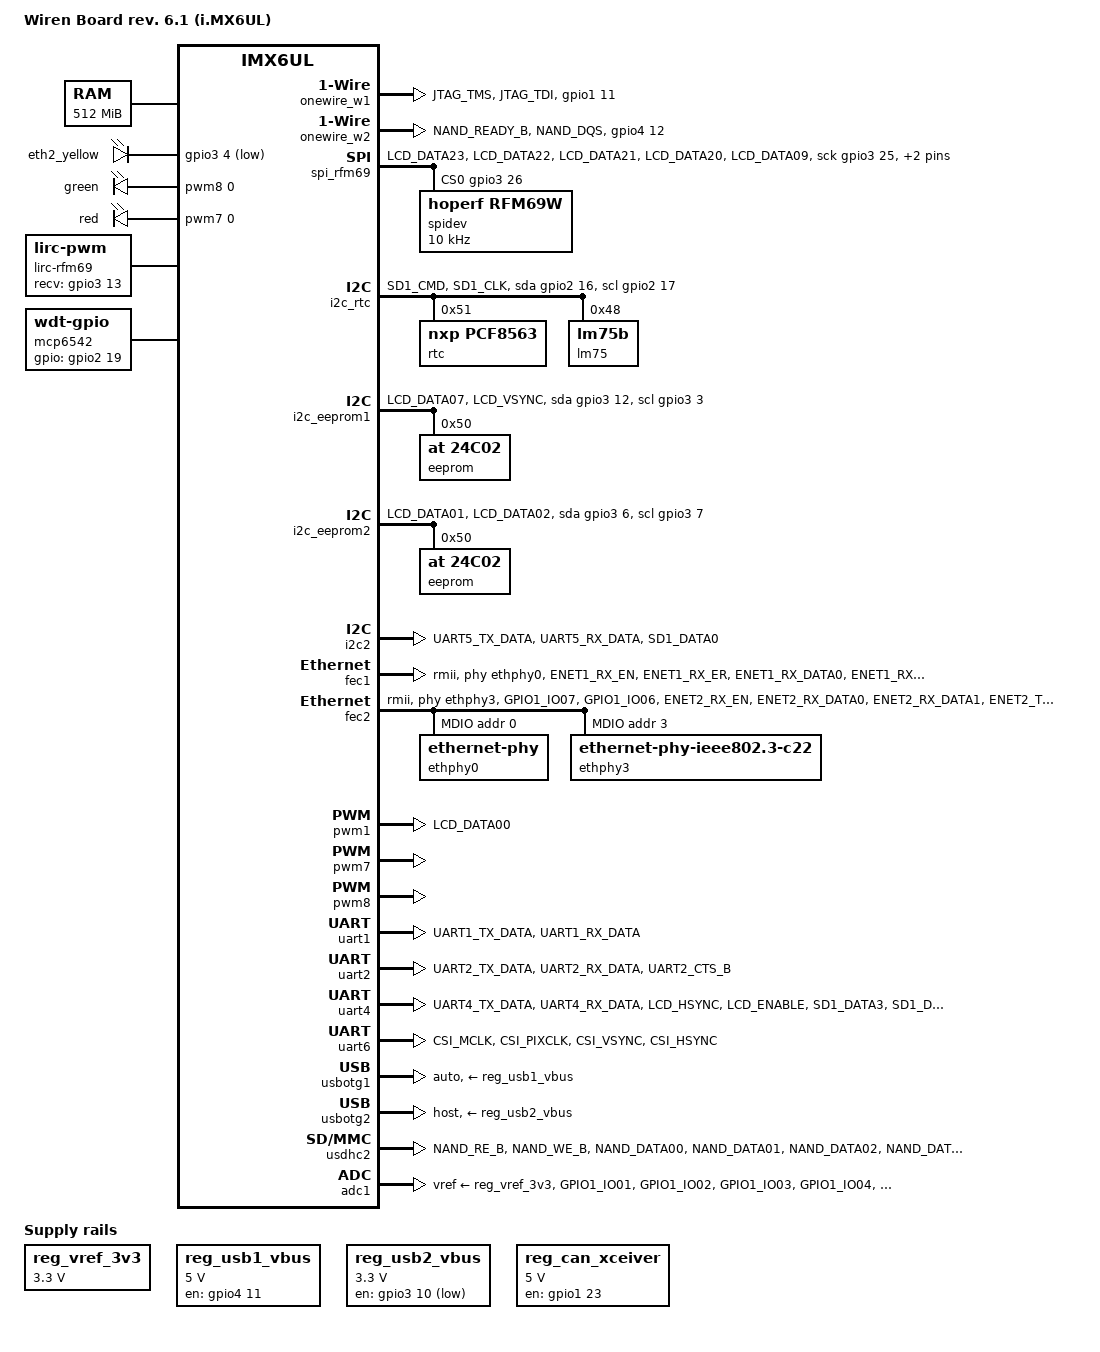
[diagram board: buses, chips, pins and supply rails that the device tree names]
/*
 * Copyright (C) 2016-2017 Contactless Devices, LLC
 * Copyright (C) 2015 Freescale Semiconductor, Inc.
 *
 * This program is free software; you can redistribute it and/or modify
 * it under the terms of the GNU General Public License version 2 as
 * published by the Free Software Foundation.
 */

/dts-v1/;

#include "imx6ul.dtsi"

/ {
	model = "Wiren Board rev. 6.1 (i.MX6UL)";
	compatible = "contactless,imx6ul-wirenboard61", "contactless,imx6ul-wirenboard61", "contactless,imx6ul-wirenboard-evk", "fsl,imx6ul-14x14-evk", "fsl,imx6ul";


	aliases {
		spi10 = &spi_rfm69;
	};

	chosen {
		stdout-path = &uart1;
	};

	memory {
		reg = <0x80000000 0x20000000>;
	};

	regulators {
		compatible = "simple-bus";
		#address-cells = <1>;
		#size-cells = <0>;

		reg_vref_3v3: regulator@0 {
			reg = <0>;
			compatible = "regulator-fixed";
			regulator-name = "vref-3v3";
			regulator-min-microvolt = <3300000>;
			regulator-max-microvolt = <3300000>;
		};

		reg_usb1_vbus: regulator@1 {
			reg = <1>;
			compatible = "regulator-fixed";
			regulator-name = "usb1_vbus";
			regulator-min-microvolt = <5000000>;
			regulator-max-microvolt = <5000000>;

			pinctrl-names = "default";
			pinctrl-0 = <&pinctrl_usb1vbus_gpio>;

			gpio = <&gpio4 11 0>;
			enable-active-high;
		};

		reg_usb2_vbus: regulator@2 {
			reg = <2>;
			compatible = "regulator-fixed";
			regulator-name = "usb2_vbus";
			regulator-min-microvolt = <3300000>;
			regulator-max-microvolt = <3300000>;

			pinctrl-names = "default";
			pinctrl-0 = <&pinctrl_usb2vbus_gpio>;

			gpio = <&gpio3 10 0>;
			/* active low */
		};

		reg_can_xceiver: regulator@3 {
			reg = <3>;
			compatible = "regulator-fixed";
			regulator-name = "can_xceiver";
			regulator-min-microvolt = <5000000>;
			regulator-max-microvolt = <5000000>;

			pinctrl-names = "default";
			pinctrl-0 = <&pinctrl_can_xceiver>;

			gpio = <&gpio1 23 0>;
			enable-active-high;
		};
	};

	leds {
		compatible = "gpio-leds";
		pinctrl-names = "default";
		pinctrl-0 = <&pinctrl_eth_led_pin_gpio>;

		eth2_yellow {
			label = "eth2_yellow";
			gpios = <&gpio3 4 1>;
			linux,default-trigger = "default-off";
		};
	};

	leds-pwm {
		compatible = "pwm-leds";
		pinctrl-names = "default";
		pinctrl-0 = <&pinctrl_leds_pin_pwm>;

		green {
			label = "green";
			pwms = <&pwm8 0 1000000>;
			max-brightness = <255>;
			linux,default-trigger = "default-off";
			default-state = "on";
			active-low;
		};

		red {
			label = "red";
			pwms = <&pwm7 0 1000000>;
			max-brightness = <255>;
			linux,default-trigger = "timer";
		};
	};

	/* Enable 1-wire network on terminal block W1 */
	onewire_w1 {
		compatible = "w1-gpio";
		pinctrl-names = "default";
		pinctrl-0 = <&pinctrl_w1_gpio>;

		gpios = <&gpio1 11 0>;
		pu-gpios = <&gpio1 13 0>;
	};

	/* Enable 1-wire network on terminal block W2 */
	onewire_w2 {
		compatible = "w1-gpio";
		pinctrl-names = "default";
		pinctrl-0 = <&pinctrl_w2_gpio>;

		gpios = <&gpio4 12 0>;
		pu-gpios = <&gpio4 16 0>;
	};

	lirc-rfm69 {
		compatible = "lirc-pwm";

		pinctrl-names = "default";
		pinctrl-0 = <&pinctrl_rfm69_dio2>;

		gpio-recv = <&gpio3 13 0>;
		gpio-recv-disable-filter;
	};

	spi_rfm69: spi-rfm69 {
		compatible = "spi-gpio";

		pinctrl-names = "default";
		pinctrl-0 = <&pinctrl_rfm69_spi_irq>;
		status = "okay";

		gpio-sck = <&gpio3 25 0>;
		gpio-mosi = <&gpio3 27 0>;
		gpio-miso = <&gpio3 28 0>;
		cs-gpios = <&gpio3 26 0>;
		num-chipselects = <1>;
		#address-cells = <1>;
		#size-cells = <0>;

		spidev@0 {
			compatible = "hoperf,rfm69w";
			spi-max-frequency = <10000>;
			reg = <0>;
		};
	};

	mcp6542: watchdog {
		/* external watchdog timer using mcp6542  */
		compatible = "linux,wdt-gpio";

		pinctrl-names = "default";
		pinctrl-0 = <&pinctrl_wdg_gpio>;

		gpios = <&gpio2 19 0>;
		hw_algo = "toggle";
		hw_margin_ms = <100>;
		always-running;
		timeout-sec = <30>;
		status = "okay";
	};

	i2c_rtc {
		compatible = "i2c-gpio";

		#address-cells = <1>;
		#size-cells = <0>;

		gpios = <
			&gpio2 16 0 /* sda */
			&gpio2 17 0 /* scl */
		>;

		i2c-gpio,delay-us = <50>;        /* ~20 kHz */

		pinctrl-names = "default";
		pinctrl-0 = <&pinctrl_i2c_gpio_rtc>;

		status = "okay";

		rtc@51 {
			compatible = "nxp,pcf8563";
			reg = <0x51>;
		};

		lm75@48 {
			/* NXP LM75AD has 11 bits of resolution, just like
			   standard LM75B. */
			compatible = "lm75b";
			reg = <0x48>;
		};
	};

	i2c_eeprom1 {
		compatible = "i2c-gpio";

		#address-cells = <1>;
		#size-cells = <0>;

		gpios = <
			&gpio3 12 0 /* sda */
			&gpio3 3 0 /* scl */
		>;

		i2c-gpio,delay-us = <50>;        /* ~20 kHz */

		pinctrl-names = "default";
		pinctrl-0 = <&pinctrl_i2c_gpio_eeprom1>;

		status = "okay";

		eeprom@50 {
			compatible = "at,24c02";
			reg = <0x50>;
		};
	};

	i2c_eeprom2 {
		compatible = "i2c-gpio";

		#address-cells = <1>;
		#size-cells = <0>;

		gpios = <
			&gpio3 6 0 /* sda */
			&gpio3 7 0 /* scl */
		>;

		i2c-gpio,delay-us = <50>;        /* ~20 kHz */

		pinctrl-names = "default";
		pinctrl-0 = <&pinctrl_i2c_gpio_eeprom2>;

		status = "okay";

		eeprom@50 {
			compatible = "at,24c02";
			reg = <0x50>;
		};
	};

};

&clks {
	assigned-clocks = <&clks IMX6UL_CLK_PLL4_AUDIO_DIV>;
	assigned-clock-rates = <786432000>;
};

&cpu0 {
	arm-supply = <&reg_arm>;
	soc-supply = <&reg_soc>;
};

&i2c2 {
	clock_frequency = <100000>;
	pinctrl-names = "default";
	pinctrl-0 = <&pinctrl_i2c2>;
	status = "okay";
};

&fec1 {
	pinctrl-names = "default";
	pinctrl-0 = <&pinctrl_enet1>;
	phy-mode = "rmii";
	phy-handle = <&ethphy0>;
	status = "okay";
};

&fec2 {
	pinctrl-names = "default";
	pinctrl-0 = <&pinctrl_enet2>;
	phy-mode = "rmii";
	phy-handle = <&ethphy3>;
	status = "okay";

	mdio {
		#address-cells = <1>;
		#size-cells = <0>;

		ethphy0: ethernet-phy@0 {
			reg = <0>;
			smsc,disable-energy-detect;
		};

		ethphy3: ethernet-phy@3 {
                    compatible = "ethernet-phy-ieee802.3-c22";
                    max-speed = <100>;
                    reg = <3>;
                    clocks = <&clks IMX6UL_CLK_ENET_REF>;
                    clock-names = "rmii-ref";
		};
	};
};

&pwm1 {
	pinctrl-names = "default";
	pinctrl-0 = <&pinctrl_pwm1>;
	status = "okay";
};

&pwm7 {
	status = "okay";
};
&pwm8 {
	status = "okay";
};

&snvs_poweroff {
	status = "okay";
};

&uart1 {
	pinctrl-names = "default";
	pinctrl-0 = <&pinctrl_uart1>;
	status = "okay";
};

&uart2 {
	pinctrl-names = "default";
	pinctrl-0 = <&pinctrl_uart2>;
	uart-has-rtscts;
	linux,rs485-enabled-at-boot-time;
	status = "okay";
};

// uart on mod1
&uart3 {
	pinctrl-names = "default";
	pinctrl-0 = <&pinctrl_uart3>;
	uart-has-rtscts;
	status = "disabled";
};

&uart4 {
	pinctrl-names = "default";
	pinctrl-0 = <&pinctrl_uart4_rs485>;
	uart-has-rtscts;
	linux,rs485-enabled-at-boot-time;
	status = "okay";
};

// uart on mod2
&uart5 {
	pinctrl-names = "default";
	pinctrl-0 = <&pinctrl_uart5>;
	uart-has-rtscts;
	status = "disabled";
};

&uart6 {
	pinctrl-names = "default";
	pinctrl-0 = <&pinctrl_uart6>;
	uart-has-rtscts;
	status = "okay";
};

// uart on mod3
&uart7 {
	pinctrl-names = "default";
	pinctrl-0 = <&pinctrl_uart7>;
	uart-has-rtscts;
	status = "disabled";
};

&can2 {
	pinctrl-names = "default";
	pinctrl-0 = <&pinctrl_flexcan2>;
	xceiver-supply = <&reg_can_xceiver>;
	status = "disabled";
};

&ecspi1 {
	pinctrl-names = "default";
	pinctrl-0 = <&pinctrl_ecspi1>;
	status = "disabled";
};

&usbotg1 {
	vbus-supply = <&reg_usb1_vbus>;
	dr_mode = "auto";
	status = "okay";
};

&usbotg2 {
	vbus-supply = <&reg_usb2_vbus>;
	dr_mode = "host";
	disable-over-current;
	status = "okay";
};

&usdhc2 {
	pinctrl-names = "default";
	pinctrl-0 = <&pinctrl_usdhc2>;
	no-1-8-v;
	keep-power-in-suspend;
	wakeup-source;
	status = "okay";
};


&adc1 {
	pinctrl-names = "default";
	pinctrl-0 = <&pinctrl_adc1>;
	status = "okay";
	vref-supply = <&reg_vref_3v3>;
};

&iomuxc {
	pinctrl-names = "default";
	pinctrl-0 = <&pinctrl_io_gpio>;

	pinctrl_enet1: enet1grp {
		fsl,pins = <
			MX6UL_PAD_ENET1_RX_EN__ENET1_RX_EN	0x1b0b0
			MX6UL_PAD_ENET1_RX_ER__ENET1_RX_ER	0x1b0b0
			MX6UL_PAD_ENET1_RX_DATA0__ENET1_RDATA00	0x1b0b0
			MX6UL_PAD_ENET1_RX_DATA1__ENET1_RDATA01	0x1b0b0
			MX6UL_PAD_ENET1_TX_EN__ENET1_TX_EN	0x1b0b0
			MX6UL_PAD_ENET1_TX_DATA0__ENET1_TDATA00	0x1b0b0
			MX6UL_PAD_ENET1_TX_DATA1__ENET1_TDATA01	0x1b0b0
			MX6UL_PAD_ENET1_TX_CLK__ENET1_REF_CLK1	0x4001b031
		>;
	};

	pinctrl_enet2: enet2grp {
		fsl,pins = <
			MX6UL_PAD_GPIO1_IO07__ENET2_MDC		0x1b0b0
			MX6UL_PAD_GPIO1_IO06__ENET2_MDIO	0x1b0b0
			MX6UL_PAD_ENET2_RX_EN__ENET2_RX_EN	0x1b0b0
			MX6UL_PAD_ENET2_RX_DATA0__ENET2_RDATA00	0x1b0b0
			MX6UL_PAD_ENET2_RX_DATA1__ENET2_RDATA01	0x1b0b0
			MX6UL_PAD_ENET2_TX_EN__ENET2_TX_EN	0x1b0b0
			MX6UL_PAD_ENET2_TX_DATA0__ENET2_TDATA00	0x1b0b0
			MX6UL_PAD_ENET2_TX_DATA1__ENET2_TDATA01	0x1b0b0
			MX6UL_PAD_ENET2_TX_CLK__ENET2_REF_CLK2	0x4001b031
			MX6UL_PAD_SNVS_TAMPER0__GPIO5_IO00	0x17059
			MX6UL_PAD_ENET2_RX_ER__ENET2_RX_ER	0x1b0b0
		>;
	};

	pinctrl_flexcan2: flexcan2grp{
		fsl,pins = <
			MX6UL_PAD_SD1_DATA3__FLEXCAN2_RX	0x1b020
			MX6UL_PAD_SD1_DATA2__FLEXCAN2_TX	0x1b020
			MX6UL_PAD_UART4_TX_DATA__GPIO1_IO28	0xb0b0
			MX6UL_PAD_UART4_RX_DATA__GPIO1_IO29	0xb0b0
			MX6UL_PAD_LCD_ENABLE__GPIO3_IO01	0xb0b0
			MX6UL_PAD_LCD_HSYNC__GPIO3_IO02	0xb0b0
		>;
	};

	pinctrl_i2c2: i2c2grp {
		fsl,pins = <
			MX6UL_PAD_UART5_TX_DATA__I2C2_SCL 0x4001b8b0
			MX6UL_PAD_UART5_RX_DATA__I2C2_SDA 0x4001b8b0
			MX6UL_PAD_SD1_DATA0__GPIO2_IO18 0x30b0 /* INT */
		>;
	};

	pinctrl_uart1: uart1grp {
		fsl,pins = <
			MX6UL_PAD_UART1_TX_DATA__UART1_DCE_TX 0x1b0b1
			MX6UL_PAD_UART1_RX_DATA__UART1_DCE_RX 0x1b0b1
		>;
	};

	pinctrl_uart2: uart2grp {
		fsl,pins = <
			MX6UL_PAD_UART2_TX_DATA__UART2_DCE_TX   0x1b0b1
			MX6UL_PAD_UART2_RX_DATA__UART2_DCE_RX   0x1b0b1
			MX6UL_PAD_UART2_CTS_B__UART2_DCE_CTS   0x1b0b1
		>;
	};

	pinctrl_uart3: uart3grp {
		fsl,pins = <
			MX6UL_PAD_UART3_TX_DATA__UART3_DCE_TX	0x1b0b1
			MX6UL_PAD_UART3_RX_DATA__UART3_DCE_RX	0x1b0b1
			MX6UL_PAD_UART3_CTS_B__UART3_DCE_CTS	0x1b0b1
		>;
	};

	pinctrl_uart4_rs485: uart4rs485grp {
		fsl,pins = <
			MX6UL_PAD_UART4_TX_DATA__UART4_DCE_TX   0x1b0b1
			MX6UL_PAD_UART4_RX_DATA__UART4_DCE_RX   0x1b0b1
			MX6UL_PAD_LCD_HSYNC__UART4_DCE_CTS   0x1b0b1
			MX6UL_PAD_LCD_ENABLE__GPIO3_IO01   0xb0b0
			MX6UL_PAD_SD1_DATA3__GPIO2_IO21   0xb0b0
			MX6UL_PAD_SD1_DATA2__GPIO2_IO20   0xb0b0
		>;
	};

	pinctrl_uart4_can: uart4cangrp {
		fsl,pins = <
			MX6UL_PAD_UART4_TX_DATA__UART4_DCE_TX   0x1b0b1
			MX6UL_PAD_LCD_ENABLE__UART4_DCE_RX   0x1b0b1
			MX6UL_PAD_LCD_HSYNC__GPIO3_IO02   0x30b0 /* RTS pull-down */
			MX6UL_PAD_UART4_RX_DATA__GPIO1_IO29   0xb0b0
			MX6UL_PAD_SD1_DATA3__GPIO2_IO21   0xb0b0
			MX6UL_PAD_SD1_DATA2__GPIO2_IO20   0xb0b0
		>;
	};

	pinctrl_uart5: uart5grp {
		fsl,pins = <
			MX6UL_PAD_CSI_DATA00__UART5_DCE_TX   0x1b0b1
			MX6UL_PAD_CSI_DATA01__UART5_DCE_RX   0x1b0b1
			MX6UL_PAD_GPIO1_IO09__UART5_DCE_CTS  0x1b0b1
		>;
	};

	pinctrl_uart6: uart6grp {
		fsl,pins = <
			MX6UL_PAD_CSI_MCLK__UART6_DCE_TX   0x1b0b1
			MX6UL_PAD_CSI_PIXCLK__UART6_DCE_RX   0x1b0b1
			MX6UL_PAD_CSI_VSYNC__UART6_DCE_RTS   0x1b0b1
			MX6UL_PAD_CSI_HSYNC__UART6_DCE_CTS   0x1b0b1
		>;
	};

	pinctrl_uart7: uart7grp {
		fsl,pins = <
			MX6UL_PAD_LCD_DATA16__UART7_DCE_TX   0x1b0b1
			MX6UL_PAD_LCD_DATA17__UART7_DCE_RX   0x1b0b1
			MX6UL_PAD_LCD_DATA06__UART7_DCE_CTS  0x1b0b1
		>;
	};

	pinctrl_ecspi1: ecspi1grp {
		fsl,pins = <
			MX6UL_PAD_CSI_DATA06__ECSPI1_MOSI	0x100b1
			MX6UL_PAD_CSI_DATA07__ECSPI1_MISO	0x100b1
			MX6UL_PAD_CSI_DATA04__ECSPI1_SCLK	0x100b1
			MX6UL_PAD_CSI_DATA05__GPIO4_IO26	0x0b0b1
		>;
	};

	pinctrl_usdhc2: usdhc2grp {
		fsl,pins = <
			MX6UL_PAD_NAND_RE_B__USDHC2_CLK     0x17059
			MX6UL_PAD_NAND_WE_B__USDHC2_CMD     0x17059
			MX6UL_PAD_NAND_DATA00__USDHC2_DATA0 0x17059
			MX6UL_PAD_NAND_DATA01__USDHC2_DATA1 0x17059
			MX6UL_PAD_NAND_DATA02__USDHC2_DATA2 0x17059
			MX6UL_PAD_NAND_DATA03__USDHC2_DATA3 0x17059
		>;
	};

	pinctrl_eth_led_pin_gpio: leds_pin_gpio {
		fsl,pins = <
			MX6UL_PAD_LCD_RESET__GPIO3_IO04	0x30b0
		>;
	};

	pinctrl_leds_pin_pwm: ledsgrp {
		fsl,pins = <
			MX6UL_PAD_JTAG_TRST_B__PWM8_OUT	0x30b0
			MX6UL_PAD_JTAG_TCK__PWM7_OUT	0x30b0
		>;
	};

	pinctrl_io_gpio: iogrp {
		fsl,pins = <
			MX6UL_PAD_LCD_DATA10__GPIO3_IO15	0x30b0 /* FET1 */
			MX6UL_PAD_LCD_DATA11__GPIO3_IO16	0x30b0 /* FET2 */
			MX6UL_PAD_LCD_DATA12__GPIO3_IO17	0x30b0 /* FET3 */
			MX6UL_PAD_LCD_DATA13__GPIO3_IO18	0x30b0 /* FET4 */
			MX6UL_PAD_CSI_DATA03__GPIO4_IO24	0x30b0 /* RESET_SIM900 */
			MX6UL_PAD_LCD_DATA15__GPIO3_IO20	0x30b0 /* POWER_SIM900 */
			MX6UL_PAD_LCD_DATA14__GPIO3_IO19	0x30b0 /* STATUS SIM900 */
			MX6UL_PAD_LCD_DATA19__GPIO3_IO24	0x30b0 /* SIM select */
			MX6UL_PAD_UART1_CTS_B__GPIO1_IO18	0x30b0 /* Battery STAT1 */
			MX6UL_PAD_UART1_RTS_B__GPIO1_IO19	0x30b0 /* Battery STAT2 */
			MX6UL_PAD_JTAG_TDO__CCM_CLKO2	0xb0 /* 24MHz clock output */
			MX6UL_PAD_UART3_RTS_B__GPIO1_IO27	0x30b0 /* 5V enable */
			MX6UL_PAD_LCD_DATA04__GPIO3_IO09	0x30b0 /* V_OUT_ON */
			MX6UL_PAD_LCD_DATA03__GPIO3_IO08	0x30b0 /* V_OUT_ST */
			MX6UL_PAD_CSI_DATA02__GPIO4_IO23        0x30b0 /* RS-485-1 failsafe bias */
			MX6UL_PAD_LCD_DATA18__GPIO3_IO23        0x30b0 /* RS-485-2 failsafe bias */
		>;
	};


	pinctrl_can_xceiver: canxceivergrp {
		fsl,pins = <
			MX6UL_PAD_UART2_RTS_B__GPIO1_IO23	0xf0b0 /* 22k pullup */
		>;
	};

	pinctrl_wdg_gpio: wdggrp {
		fsl,pins = <
			MX6UL_PAD_SD1_DATA1__GPIO2_IO19	 0x30b0 /* watchdog toggle out */
		>;
	};

	pinctrl_adc1: adc1grp {
		fsl,pins = <
			MX6UL_PAD_GPIO1_IO01__GPIO1_IO01        0xb0
			MX6UL_PAD_GPIO1_IO02__GPIO1_IO02        0xb0
			MX6UL_PAD_GPIO1_IO03__GPIO1_IO03        0xb0
			MX6UL_PAD_GPIO1_IO04__GPIO1_IO04        0xb0
			MX6UL_PAD_GPIO1_IO05__GPIO1_IO05        0xb0
			MX6UL_PAD_GPIO1_IO08__GPIO1_IO08        0xb0
		>;
	};

	pinctrl_pwm1: pwm1grp {
		fsl,pins = <
			MX6UL_PAD_LCD_DATA00__PWM1_OUT	0x30b0
		>;
	};

	pinctrl_w1_gpio: w1grp {
		fsl,pins = <
			MX6UL_PAD_JTAG_TMS__GPIO1_IO11	0x30b0
			MX6UL_PAD_JTAG_TDI__GPIO1_IO13	0x30b0
		>;
	};

	pinctrl_w2_gpio: w2grp {
		fsl,pins = <
			MX6UL_PAD_NAND_READY_B__GPIO4_IO12	0x30b0
			MX6UL_PAD_NAND_DQS__GPIO4_IO16	0x30b0
		>;
	};

	pinctrl_rfm69_spi_irq: rfm69spigrp {
		fsl,pins = <
			MX6UL_PAD_LCD_DATA23__GPIO3_IO28	0x30b0
			MX6UL_PAD_LCD_DATA22__GPIO3_IO27	0x30b0
			MX6UL_PAD_LCD_DATA21__GPIO3_IO26	0x30b0
			MX6UL_PAD_LCD_DATA20__GPIO3_IO25	0x30b0
			MX6UL_PAD_LCD_DATA09__GPIO3_IO14	0x30b0
		>;
	};

	pinctrl_i2c_gpio_rtc: rtcgrp {
		fsl,pins = <
			MX6UL_PAD_SD1_CMD__GPIO2_IO16	0x1b0b0 /* RTC_SDA */
			MX6UL_PAD_SD1_CLK__GPIO2_IO17	0x1b0b0 /* RTC_SCL */
		>;
	};

	pinctrl_i2c_gpio_eeprom1: eeprom1grp {
		fsl,pins = <
			MX6UL_PAD_LCD_DATA07__GPIO3_IO12	0x1b0b0 /* EEPR_SDA-1 */
			MX6UL_PAD_LCD_VSYNC__GPIO3_IO03	0x1b0b0 /* EEPR_SCL-1 */
		>;
	};

	pinctrl_i2c_gpio_eeprom2: eeprom2grp {
		fsl,pins = <
			MX6UL_PAD_LCD_DATA01__GPIO3_IO06	0x1b0b0 /* EEPR_SDA-2 */
			MX6UL_PAD_LCD_DATA02__GPIO3_IO07	0x1b0b0 /* EEPR_SCL-2 */
		>;
	};

	pinctrl_rfm69_dio2: rfm69diogrp {
		fsl,pins = <
			MX6UL_PAD_LCD_DATA08__GPIO3_IO13	0x30b0
		>;
	};

	pinctrl_usb1vbus_gpio: usb1vbusgrp {
		fsl,pins = <
			MX6UL_PAD_NAND_WP_B__GPIO4_IO11	0x30b0 /* PRTCTL3 */
		>;
	};

	pinctrl_usb2vbus_gpio: usb2vbusgrp {
		fsl,pins = <
			MX6UL_PAD_LCD_DATA05__GPIO3_IO10	0x30b0
		>;
	};

	pinctrl_mod1_txrx_gpio: mod1gpiogrp {
		fsl,pins = <
			MX6UL_PAD_UART3_TX_DATA__GPIO1_IO24	0x30b0
			MX6UL_PAD_UART3_RX_DATA__GPIO1_IO25	0x30b0
		>;
	};

	pinctrl_mod1_de_gpio: mod1gpiogrp {
		fsl,pins = <
			MX6UL_PAD_UART3_CTS_B__GPIO1_IO26	0x30b0
		>;
	};



	pinctrl_mod2_txrx_gpio: mod2gpiogrp {
		fsl,pins = <
			MX6UL_PAD_CSI_DATA00__GPIO4_IO21	0x30b0
			MX6UL_PAD_CSI_DATA01__GPIO4_IO22	0x30b0
		>;
	};

	pinctrl_mod2_de_gpio: mod2gpiogrp {
		fsl,pins = <
			MX6UL_PAD_GPIO1_IO09__GPIO1_IO09	0x30b0
		>;
	};

	pinctrl_mod3_uart_gpio: mod3uartgpiogrp {
		fsl,pins = <
			MX6UL_PAD_LCD_DATA16__GPIO3_IO21	0x30b0
			MX6UL_PAD_LCD_DATA17__GPIO3_IO22	0x30b0
			MX6UL_PAD_LCD_DATA06__GPIO3_IO11	0x30b0
		>;
	};

	pinctrl_mod3_spi_gpio: mod3spigpiogrp {
		fsl,pins = <
			MX6UL_PAD_CSI_DATA06__GPIO4_IO27	0x30b0
			MX6UL_PAD_CSI_DATA07__GPIO4_IO28	0x30b0
			MX6UL_PAD_CSI_DATA04__GPIO4_IO25	0x30b0
			MX6UL_PAD_CSI_DATA05__GPIO4_IO26	0x30b0
		>;
	};
};
